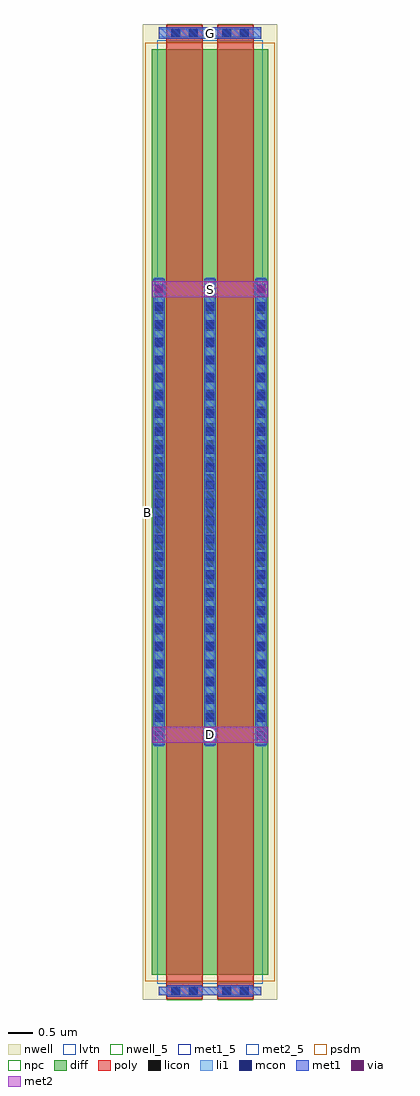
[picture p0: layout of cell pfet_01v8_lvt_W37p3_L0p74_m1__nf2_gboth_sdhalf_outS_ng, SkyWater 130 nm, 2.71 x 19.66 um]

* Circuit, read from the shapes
.subckt pfet_01v8_lvt_W37p3_L0p74_m1__nf2_gboth_sdhalf_outS_ng B D G S
XM1 D G S B sky130_fd_pr__pfet_01v8_lvt w=18.65 l=0.74 m=2
.ends

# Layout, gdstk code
import gdstk
lib = gdstk.Library(unit=1e-6, precision=1e-09)
def R(c, l, rs):  # rectangles x0, y0, x1, y1
    for r in rs: c.add(gdstk.rectangle(r[:2], r[2:], *l))
def A(c, l, x, y, w, h, nx, ny, dx, dy):  # array of equal rectangles
    R(c, l, [(x+i*dx, y+j*dy, x+i*dx+w, y+j*dy+h) for i in range(nx) for j in range(ny)])
nwell_5 = (64, 5)
nwell = (64, 20)
diff = (65, 20)
poly = (66, 20)
licon = (66, 44)
li1 = (67, 20)
mcon = (67, 44)
met1_5 = (68, 5)
met1 = (68, 20)
via = (68, 44)
met2_5 = (69, 5)
met2 = (69, 20)
psdm = (94, 20)
npc = (95, 20)
lvtn = (125, 44)

sky130_fd_pr__pfet_01v8_ = lib.new_cell('sky130_fd_pr__pfet_01v8_lvt_L46SR6')
R(sky130_fd_pr__pfet_01v8_, nwell, [(-1.355,-9.825,1.355,9.825)])
R(sky130_fd_pr__pfet_01v8_, diff, [(-1.175,-9.325,1.175,9.325)])
R(sky130_fd_pr__pfet_01v8_, poly, [(-0.885,-9.81,-0.145,9.81), (0.145,-9.81,0.885,9.81)])
A(sky130_fd_pr__pfet_01v8_, licon, -1.115, -4.505, 0.17, 0.17, 3, 27, 1.03, 0.34)
R(sky130_fd_pr__pfet_01v8_, licon, [(-0.77,-9.73,-0.6,-9.56), (-0.43,-9.73,-0.26,-9.56), (0.26,-9.73,0.43,-9.56), (0.6,-9.73,0.77,-9.56), (-0.77,9.56,-0.6,9.73), (-0.43,9.56,-0.26,9.73), (0.26,9.56,0.43,9.73), (0.6,9.56,0.77,9.73)])
A(sky130_fd_pr__pfet_01v8_, li1, -1.115, -4.715, 0.17, 9.43, 3, 1, 1.03, 0)
R(sky130_fd_pr__pfet_01v8_, li1, [(-1.03,-9.73,1.03,-9.56), (-1.03,9.56,1.03,9.73)])
A(sky130_fd_pr__pfet_01v8_, mcon, -1.115, -4.585, 0.17, 0.17, 3, 26, 1.03, 0.36)
R(sky130_fd_pr__pfet_01v8_, mcon, [(-0.78,-9.73,-0.61,-9.56), (-0.42,-9.73,-0.25,-9.56), (0.25,-9.73,0.42,-9.56), (0.61,-9.73,0.78,-9.56), (-0.78,9.56,-0.61,9.73), (-0.42,9.56,-0.25,9.73), (0.25,9.56,0.42,9.73), (0.61,9.56,0.78,9.73)])
A(sky130_fd_pr__pfet_01v8_, met1, -1.145, -4.695, 0.23, 9.39, 3, 1, 1.03, 0)
R(sky130_fd_pr__pfet_01v8_, met1, [(-0.865,-9.76,-0.165,-9.73), (0.165,-9.76,0.865,-9.73), (-1.03,-9.73,1.03,-9.56), (-0.865,-9.56,-0.165,-9.53), (0.165,-9.56,0.865,-9.53), (-0.865,9.53,-0.165,9.56), (0.165,9.53,0.865,9.56), (-1.03,9.56,1.03,9.73), (-0.865,9.73,-0.165,9.76), (0.165,9.73,0.865,9.76)])
R(sky130_fd_pr__pfet_01v8_, psdm, [(-1.3,-9.45,1.3,9.45)])
R(sky130_fd_pr__pfet_01v8_, npc, [(-0.87,-9.83,-0.16,-9.46), (0.16,-9.83,0.87,-9.46), (-0.87,9.46,-0.16,9.83), (0.16,9.46,0.87,9.83)])
R(sky130_fd_pr__pfet_01v8_, lvtn, [(-1.065,-9.505,1.065,9.505)])
sky130_fd_pr__pfet_01v8_.add(gdstk.Label('D0', (-1.03,0), layer=67, texttype=5))
sky130_fd_pr__pfet_01v8_.add(gdstk.Label('G', (0.515,9.645), layer=67, texttype=5))
sky130_fd_pr__pfet_01v8_.add(gdstk.Label('G', (-0.515,9.645), layer=67, texttype=5))
sky130_fd_pr__pfet_01v8_.add(gdstk.Label('S1', (0,0), layer=67, texttype=5))

pfet_01v8_lvt_w37p3_l0p7 = lib.new_cell('pfet_01v8_lvt_W37p3_L0p74_m1__nf2_gboth_sdhalf_outS_ng')
R(pfet_01v8_lvt_w37p3_l0p7, nwell_5, [(0.05,9.775,0.15,9.875)])
R(pfet_01v8_lvt_w37p3_l0p7, nwell, [(0.05,9.775,0.15,9.875)])
R(pfet_01v8_lvt_w37p3_l0p7, met1_5, [(0.325,19.355,2.385,19.585)])
R(pfet_01v8_lvt_w37p3_l0p7, met1, [(1.225,5.18,1.485,5.5), (0.195,14.15,0.455,14.47), (2.255,14.15,2.515,14.47), (0.325,19.355,2.385,19.585)])
R(pfet_01v8_lvt_w37p3_l0p7, via, [(1.28,5.265,1.43,5.415), (0.25,14.235,0.4,14.385), (2.31,14.235,2.46,14.385)])
R(pfet_01v8_lvt_w37p3_l0p7, met2_5, [(0.19,5.18,2.52,5.5), (0.19,14.15,2.52,14.47)])
R(pfet_01v8_lvt_w37p3_l0p7, met2, [(0.19,5.18,2.52,5.5), (0.19,14.15,2.52,14.47)])
pfet_01v8_lvt_w37p3_l0p7.add(gdstk.Reference(sky130_fd_pr__pfet_01v8_, (1.355,9.825)))
pfet_01v8_lvt_w37p3_l0p7.add(gdstk.Label('S', (1.355,14.31), layer=69, texttype=5))
pfet_01v8_lvt_w37p3_l0p7.add(gdstk.Label('D', (1.355,5.34), layer=69, texttype=5))
pfet_01v8_lvt_w37p3_l0p7.add(gdstk.Label('G', (1.355,19.47), layer=68, texttype=5))
pfet_01v8_lvt_w37p3_l0p7.add(gdstk.Label('B', (0.1,9.825), layer=64, texttype=5))

lib.write_gds('pfet_01v8_lvt_W37p3_L0p74_m1__nf2_gboth_sdhalf_outS_ng.gds')
